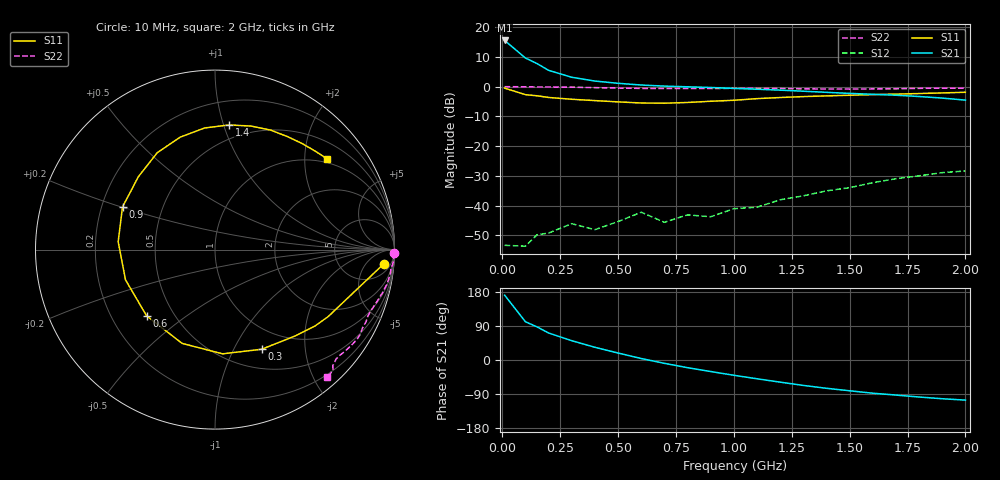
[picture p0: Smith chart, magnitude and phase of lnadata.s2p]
! S-parameters and noise data of an LNA amplifier
# MHz S RI R 50
! S-Parameters data
! Freq  reS11  imS11  reS21  imS21  reS12  imS12  reS22  imS22
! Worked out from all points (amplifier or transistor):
!   22 points, 10 MHz to 2 GHz, reference 50 ohm
!   highest |S21| = 15.5 dB at 10 MHz (marker M1)
!   |S21| within 3 dB of that: start of sweep to 55.68 MHz
!   unconditionally stable (mu >= 1): 99.08 MHz to 127.9 MHz; 154.9 MHz to 1.749 GHz
!   at 200 MHz: K = 1.84, MAG = 22.1 dB, |S12| = -49.3 dB
!   at 1 GHz: K = 4.90, MAG = 10.4 dB, |S12| = -41.1 dB
!   at 2 GHz: K = 0.45, MSG = 11.9 dB, |S12| = -28.4 dB
!   lowest NFmin = 0.81 dB at 260 MHz
!   S11 on the Smith chart (normalised r, x): 10 MHz: 11, -16; 300 MHz: 0.73, -1.30; 600 MHz: 0.35, -0.36; 900 MHz: 0.29, +0.20; 1.4 GHz: 0.38, +1.04; 2 GHz: 0.89, +2.55
10  0.94 -0.0797  -5.912 0.9259  -0.000463 -0.00209  0.9985 -0.0202
100  0.6303 -0.3734  -0.5724 2.975  0.00104 0.00179  0.9916 -0.0775
150  0.5578 -0.4253  0.1108 2.441  -0.00233 0.00221  0.9805 -0.1048
200  0.4491 -0.4801  0.6035 1.781  0.00247 0.00239  0.9772 -0.1333
300  0.2598 -0.5552  0.9052 1.116  0.00117 0.0048  0.9598 -0.1896
400  0.0421 -0.5806  1.035 0.6863  0.00129 0.0037  0.9308 -0.2443
500  -0.1831 -0.5227  1.08 0.3583  0.00339 0.00417  0.8994 -0.2943
600  -0.3811 -0.3692  1.062 0.0731  0.00525 0.00564  0.8699 -0.3389
700  -0.4986 -0.1684  1.009 -0.156  0.00474 0.00218  0.8515 -0.3708
800  -0.5395 0.044  0.932 -0.3438  0.00395 0.00573  0.8409 -0.4027
900  -0.5152 0.2377  0.8338 -0.489  0.00456 0.00459  0.8224 -0.4353
1000  -0.4267 0.4065  0.7125 -0.6047  0.00579 0.00669  0.8097 -0.4714
1100  -0.3218 0.5398  0.587 -0.6885  0.00373 0.00859  0.7908 -0.5002
1200  -0.1938 0.6266  0.4567 -0.7442  0.00435 0.0117  0.7634 -0.5297
1300  -0.0576 0.6778  0.3266 -0.771  0.00556 0.0134  0.7277 -0.5632
1400  0.0776 0.6944  0.2125 -0.7734  0.00687 0.0162  0.6956 -0.5888
1500  0.1998 0.6884  0.1175 -0.7606  0.00883 0.0179  0.675 -0.6093
1600  0.3099 0.6658  0.0308 -0.7423  0.0131 0.0204  0.6648 -0.6303
1700  0.4056 0.6288  -0.0321 -0.7161  0.0174 0.0223  0.6565 -0.6468
1800  0.4884 0.5893  -0.0911 -0.6761  0.0205 0.024  0.6573 -0.6655
1900  0.5612 0.5469  -0.1356 -0.6272  0.0257 0.0248  0.644 -0.6896
2000  0.6246 0.506  -0.1623 -0.5703  0.029 0.0247  0.6245 -0.707
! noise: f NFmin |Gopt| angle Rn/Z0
200  0.841  0.341  46.41  0.178
220  0.832  0.351  49.31  0.17
240  0.821  0.342  52.71  0.162
260  0.813  0.342  56.22  0.156
280  0.813  0.331  59.83  0.15
300  0.813  0.321  63.41  0.142
